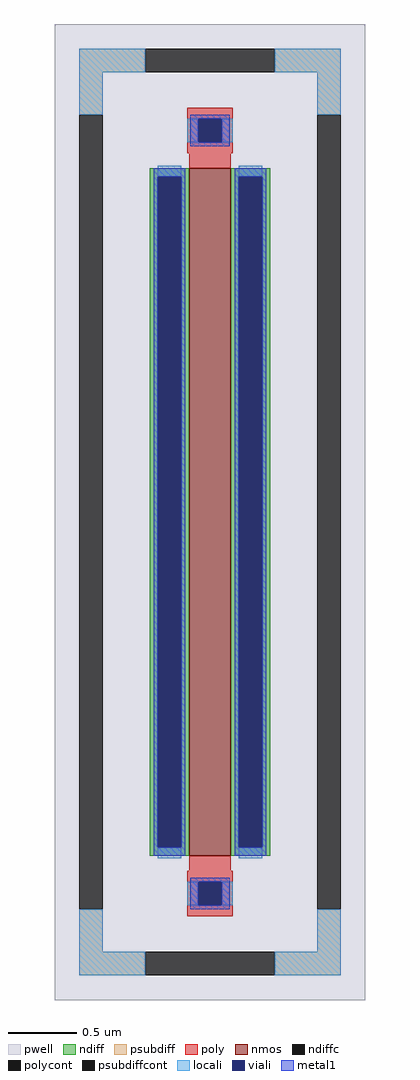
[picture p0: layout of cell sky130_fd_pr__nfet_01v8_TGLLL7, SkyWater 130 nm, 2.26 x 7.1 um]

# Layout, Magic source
magic
tech sky130A
magscale 1 2
<< pwell >>
rect -226 -710 226 710
<< nmos >>
rect -30 -500 30 500
<< ndiff >>
rect -88 488 -30 500
rect -88 -488 -76 488
rect -42 -488 -30 488
rect -88 -500 -30 -488
rect 30 488 88 500
rect 30 -488 42 488
rect 76 -488 88 488
rect 30 -500 88 -488
<< ndiffc >>
rect -76 -488 -42 488
rect 42 -488 76 488
<< psubdiff >>
rect -190 640 -94 674
rect 94 640 190 674
rect -190 578 -156 640
rect 156 578 190 640
rect -190 -640 -156 -578
rect 156 -640 190 -578
rect -190 -674 -94 -640
rect 94 -674 190 -640
<< psubdiffcont >>
rect -94 640 94 674
rect -190 -578 -156 578
rect 156 -578 190 578
rect -94 -674 94 -640
<< poly >>
rect -33 572 33 588
rect -33 538 -17 572
rect 17 538 33 572
rect -33 522 33 538
rect -30 500 30 522
rect -30 -522 30 -500
rect -33 -538 33 -522
rect -33 -572 -17 -538
rect 17 -572 33 -538
rect -33 -588 33 -572
<< polycont >>
rect -17 538 17 572
rect -17 -572 17 -538
<< locali >>
rect -190 640 -94 674
rect 94 640 190 674
rect -190 578 -156 640
rect 156 578 190 640
rect -33 538 -17 572
rect 17 538 33 572
rect -76 488 -42 504
rect -76 -504 -42 -488
rect 42 488 76 504
rect 42 -504 76 -488
rect -33 -572 -17 -538
rect 17 -572 33 -538
rect -190 -640 -156 -578
rect 156 -640 190 -578
rect -190 -674 -94 -640
rect 94 -674 190 -640
<< viali >>
rect -17 538 17 572
rect -76 -488 -42 488
rect 42 -488 76 488
rect -17 -572 17 -538
<< metal1 >>
rect -29 572 29 578
rect -29 538 -17 572
rect 17 538 29 572
rect -29 532 29 538
rect -82 488 -36 500
rect -82 -488 -76 488
rect -42 -488 -36 488
rect -82 -500 -36 -488
rect 36 488 82 500
rect 36 -488 42 488
rect 76 -488 82 488
rect 36 -500 82 -488
rect -29 -538 29 -532
rect -29 -572 -17 -538
rect 17 -572 29 -538
rect -29 -578 29 -572
<< properties >>
string FIXED_BBOX -173 -657 173 657
string gencell sky130_fd_pr__nfet_01v8
string library sky130
string parameters w 5 l 0.3 m 1 nf 1 diffcov 100 polycov 100 guard 1 glc 1 grc 1 gtc 1 gbc 1 tbcov 100 rlcov 100 topc 1 botc 1 poverlap 0 doverlap 1 lmin 0.15 wmin 0.42 compatible {sky130_fd_pr__nfet_01v8 sky130_fd_pr__nfet_01v8_lvt  sky130_fd_bs_flash__special_sonosfet_star  sky130_fd_pr__nfet_g5v0d10v5 sky130_fd_pr__nfet_05v0_nvt  sky130_fd_pr__nfet_03v3_nvt} full_metal 1 viasrc 100 viadrn 100 viagate 100 viagb 0 viagr 0 viagl 0 viagt 0
<< end >>
